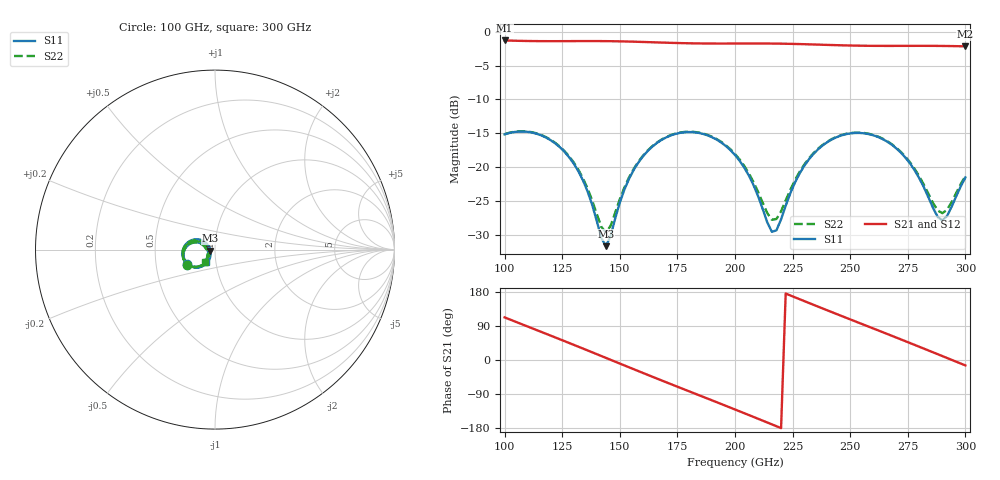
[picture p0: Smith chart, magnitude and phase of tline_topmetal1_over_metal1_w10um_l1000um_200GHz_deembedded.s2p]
! Created with skrf 2.2.0 (http://scikit-rf.org).
# GHz S DB R 50.0
! Port[1] = P1
! Port[2] = P2
!freq dBS11 angS11 dBS21 angS21 dBS12 angS12 dBS22 angS22
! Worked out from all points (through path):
!   101 points, 100 GHz to 300 GHz, reference 50 ohm
!   highest |S21| = -1.28 dB at 100 GHz (marker M1); lowest = -2.2 dB at 300 GHz (marker M2)
!   group delay of S21, straight-line fit = 6.76 ps
!   lowest |S11| = -31.7 dB at 144 GHz (marker M3), VSWR 1.05, Z = 47.5 - j0.592 ohm
!   |S11| at or under -10 dB: start of sweep to end of sweep
!   |S22| runs from -29.7 to -14.7 dB; largest |S21 - S12| = 9.4e-14
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100  -15.16 -152.2  -1.28 112.4  -1.28 112.4  -15.13 -151.5
108  -14.73 -169.3  -1.35 93.2  -1.35 93.2  -14.69 -168.2
116  -15.32 173.8  -1.38 74.0  -1.38 74.0  -15.26 175.4
126  -17.74 154.3  -1.38 49.8  -1.38 49.8  -17.62 156.9
134  -21.94 143.4  -1.37 30.2  -1.37 30.2  -21.64 147.8
144  -31.68 -166.2  -1.38 5.5  -1.38 5.5  -29.66 -167.0
154  -21.73 -120.3  -1.44 -19.3  -1.44 -19.3  -21.52 -124.1
168  -16.00 -142.6  -1.59 -53.6  -1.59 -53.6  -15.95 -143.7
176  -14.94 -158.6  -1.67 -72.9  -1.67 -72.9  -14.90 -158.9
184  -14.93 -174.6  -1.72 -92.0  -1.72 -92.0  -14.87 -174.3
200  -18.21 156.1  -1.73 -130.6  -1.73 -130.6  -18.05 158.2
208  -22.63 149.2  -1.73 -150.1  -1.73 -150.1  -22.19 153.3
216  -29.56 -175.3  -1.74 -169.8  -1.74 -169.8  -27.78 -174.3
218  -29.34 -153.2  -1.75 -174.8  -1.75 -174.8  -27.66 -157.1
224  -23.87 -123.7  -1.78 170.4  -1.78 170.4  -23.36 -129.7
234  -18.07 -130.1  -1.87 145.8  -1.87 145.8  -17.95 -133.4
244  -15.59 -147.4  -1.97 121.6  -1.97 121.6  -15.53 -149.4
252  -14.95 -162.5  -2.04 102.4  -2.04 102.4  -14.90 -163.9
268  -16.68 168.5  -2.08 64.1  -2.08 64.1  -16.60 168.3
280  -21.65 156.2  -2.07 34.9  -2.07 34.9  -21.37 157.6
290  -27.87 -163.4  -2.09 10.3  -2.09 10.3  -26.81 -165.1
300  -21.52 -125.1  -2.15 -14.3  -2.15 -14.3  -21.28 -129.4
